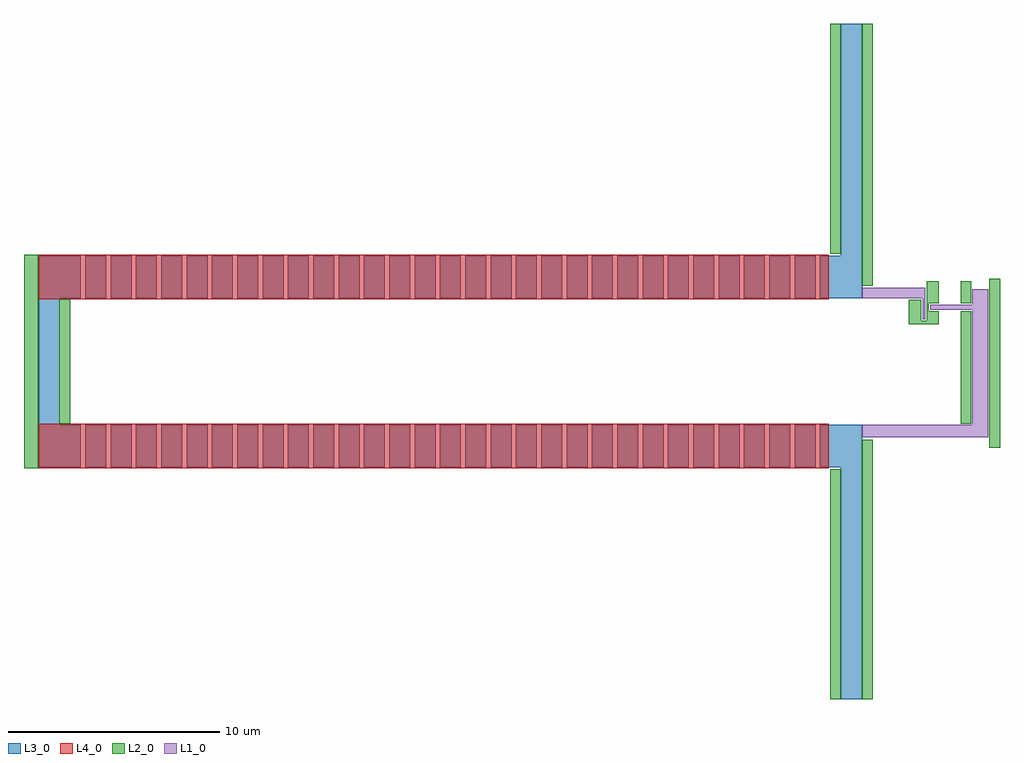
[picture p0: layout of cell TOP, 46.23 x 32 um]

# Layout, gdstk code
import gdstk
lib = gdstk.Library(unit=1e-6, precision=1e-09)
def R(c, l, rs):  # rectangles x0, y0, x1, y1
    for r in rs: c.add(gdstk.rectangle(r[:2], r[2:], *l))
def A(c, l, x, y, w, h, nx, ny, dx, dy):  # array of equal rectangles
    R(c, l, [(x+i*dx, y+j*dy, x+i*dx+w, y+j*dy+h) for i in range(nx) for j in range(ny)])
L1_0 = (1, 0)
L2_0 = (2, 0)
L3_0 = (3, 0)
L4_0 = (4, 0)

top = lib.new_cell('TOP')
R(top, L1_0, [(0.501,-3.6,6.481,-3), (5.73,-3,6.481,3.412), (3.384,2.009,3.484,3), (3.732,2.446,5.73,2.696), (0.501,3,3.484,3.5)])
R(top, L2_0, [(-1.005,-16,-0.501,-5.1), (0.501,-16,1.005,-3.7), (-39.198,-5.05,-38.512,5.049), (6.535,-4.086,7.035,3.912), (-37.519,-2.95,-37.013,2.95), (5.181,-2.95,5.681,2.371), (2.713,1.759,3.309,2.925), (3.309,1.759,3.559,1.934), (3.559,1.759,4.131,2.371), (3.559,2.371,3.657,2.771), (3.559,2.771,4.131,3.812), (5.181,2.771,5.681,3.812), (0.501,3.6,1.005,16), (-1.005,5.1,-0.501,16)])
A(top, L3_0, -36.299, -5, 0.998, 2, 30, 2, 1.2, 8)
R(top, L3_0, [(-0.501,-16,0.501,-3), (-38.501,-5,-36.501,-3), (-38.501,-3,-37.509,3), (-38.501,3,-36.501,5), (-0.501,3,0.501,16)])
R(top, L4_0, [(-38.501,-5.05,-1.069,-2.95), (-38.501,2.95,-1.069,5.05)])

lib.write_gds('TOP.gds')
